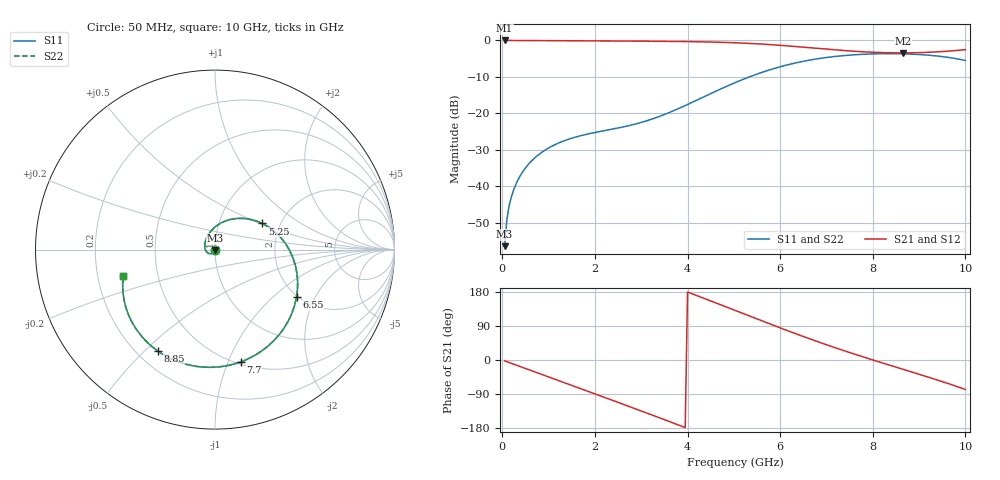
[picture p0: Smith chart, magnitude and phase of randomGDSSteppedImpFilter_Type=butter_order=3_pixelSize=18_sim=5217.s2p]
! freq	dB(S11)	phase(S11)	dB(S12)	phase(S12)
!  dB(S21)	phase(S21)	dB(S22)	phase(S22)
!S-par simulation data
#  GHz  S  DB  R 50
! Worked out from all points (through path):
!   200 points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, 50 MHz to 10 GHz, reference 50 ohm
!   highest |S21| = 0.00 dB at 50 MHz (marker M1); lowest = -3.4 dB at 8.65 GHz (marker M2)
!   group delay of S21, straight-line fit = 124 ps
!   lowest |S11| = -56.4 dB at 50 MHz (marker M3), VSWR 1.00, Z = 50 - j0.151 ohm
!   |S11| at or under -10 dB: start of sweep to 5.334 GHz
!   |S22| runs from -54.5 to -3.6 dB; largest |S21 - S12| = 0
!   S11 on the Smith chart (normalised r, x): 50 MHz: 1.00, -0.00; 5.25 GHz: 1.62, +0.52; 6.55 GHz: 1.97, -1.44; 7.7 GHz: 0.52, -1.11; 8.85 GHz: 0.28, -0.55; 10 GHz: 0.31, -0.13
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0.05  -56.39 -86.1  -0.00 -2.3  -0.00 -2.3  -54.51 -77.6
0.1  -48.99 -84.8  -0.01 -4.5  -0.01 -4.5  -48.61 -87.9
0.15  -45.16 -92.1  -0.01 -6.8  -0.01 -6.8  -45.15 -92.9
0.25  -40.80 -99.6  -0.02 -11.2  -0.02 -11.2  -40.81 -99.6
0.45  -35.83 -110.2  -0.03 -20.1  -0.03 -20.1  -35.83 -110.3
0.95  -29.85 -134.0  -0.05 -42.4  -0.05 -42.4  -29.85 -134.2
1.75  -25.93 -170.7  -0.10 -78.2  -0.10 -78.2  -25.93 -171.0
2.55  -23.87 152.8  -0.15 -114.1  -0.15 -114.1  -23.87 152.2
3.4  -20.80 114.0  -0.23 -152.8  -0.23 -152.8  -20.79 113.4
3.8  -18.71 95.7  -0.28 -171.3  -0.28 -171.3  -18.71 95.2
4.2  -16.37 77.5  -0.35 170.0  -0.35 170.0  -16.37 77.0
5.05  -11.44 38.2  -0.65 129.7  -0.65 129.7  -11.44 37.8
5.25  -10.41 28.9  -0.76 120.2  -0.76 120.2  -10.41 28.5
5.85  -7.76 1.1  -1.20 91.7  -1.20 91.7  -7.76 0.8
6.55  -5.59 -30.2  -1.90 59.7  -1.90 59.7  -5.59 -30.4
6.7  -5.24 -36.7  -2.06 53.1  -2.06 53.1  -5.24 -36.9
7.7  -3.85 -77.0  -3.04 11.8  -3.04 11.8  -3.85 -77.2
8.35  -3.62 -101.3  -3.38 -13.1  -3.38 -13.1  -3.62 -101.4
8.65  -3.67 -112.2  -3.41 -24.4  -3.41 -24.4  -3.67 -112.4
8.85  -3.76 -119.5  -3.39 -32.0  -3.39 -32.0  -3.76 -119.7
9.45  -4.35 -141.9  -3.09 -55.0  -3.09 -55.0  -4.35 -142.1
10  -5.50 -163.9  -2.54 -77.7  -2.54 -77.7  -5.50 -164.2
